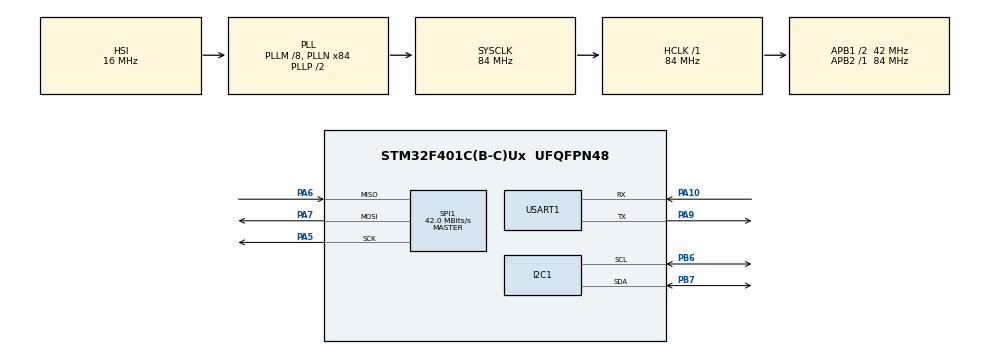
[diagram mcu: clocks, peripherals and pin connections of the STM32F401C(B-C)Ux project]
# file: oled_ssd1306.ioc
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I2C1.I2C_Mode=I2C_Fast
Mcu.Family=STM32F4
Mcu.Name=STM32F401C(B-C)Ux
Mcu.Package=UFQFPN48
NVIC.PriorityGroup=NVIC_PRIORITYGROUP_4
NVIC.SPI1_IRQn=true\:0\:0\:false\:false\:true\:true\:true\:true
PA10.Mode=Asynchronous
PA10.Signal=USART1_RX
PA13.Mode=Serial_Wire
PA13.Signal=SYS_JTMS-SWDIO
PA14.Mode=Serial_Wire
PA14.Signal=SYS_JTCK-SWCLK
PA5.Mode=Full_Duplex_Master
PA5.Signal=SPI1_SCK
PA6.Mode=Full_Duplex_Master
PA6.Signal=SPI1_MISO
PA7.Mode=Full_Duplex_Master
PA7.Signal=SPI1_MOSI
PA9.Mode=Asynchronous
PA9.Signal=USART1_TX
PB6.GPIO_Pu=GPIO_PULLUP
PB6.Mode=I2C
PB6.Signal=I2C1_SCL
PB7.GPIO_Pu=GPIO_PULLUP
PB7.Mode=I2C
PB7.Signal=I2C1_SDA
PC14-OSC32_IN.Mode=LSE-External-Oscillator
PC14-OSC32_IN.Signal=RCC_OSC32_IN
PC15-OSC32_OUT.Mode=LSE-External-Oscillator
PC15-OSC32_OUT.Signal=RCC_OSC32_OUT
PH0\ -\ OSC_IN.Mode=HSE-External-Oscillator
PH0\ -\ OSC_IN.Signal=RCC_OSC_IN
PH1\ -\ OSC_OUT.Mode=HSE-External-Oscillator
PH1\ -\ OSC_OUT.Signal=RCC_OSC_OUT
ProjectManager.HeapSize=0x200
ProjectManager.StackSize=0x400
ProjectManager.TargetToolchain=STM32CubeIDE
RCC.48MHZClocksFreq_Value=42000000
RCC.AHBFreq_Value=84000000
RCC.APB1CLKDivider=RCC_HCLK_DIV2
RCC.APB1Freq_Value=42000000
RCC.APB1TimFreq_Value=84000000
RCC.APB2Freq_Value=84000000
RCC.APB2TimFreq_Value=84000000
RCC.CortexFreq_Value=84000000
RCC.HCLKFreq_Value=84000000
RCC.HSE_VALUE=25000000
RCC.HSI_VALUE=16000000
RCC.PLLM=8
RCC.PLLN=84
RCC.SYSCLKFreq_VALUE=84000000
RCC.SYSCLKSource=RCC_SYSCLKSOURCE_PLLCLK
RCC.VCOOutputFreq_Value=168000000
SPI1.CalculateBaudRate=42.0 MBits/s
SPI1.Direction=SPI_DIRECTION_2LINES
SPI1.Mode=SPI_MODE_MASTER
SPI1.VirtualType=VM_MASTER
USART1.VirtualMode=VM_ASYNC
VP_RTC_VS_RTC_Activate.Mode=RTC_Enabled
VP_RTC_VS_RTC_WakeUp_intern.Mode=WakeUp
board=custom

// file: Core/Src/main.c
/* USER CODE BEGIN Header */
/**
  ******************************************************************************
  * @file           : main.c
  * @brief          : Main program body
  ******************************************************************************
  * @attention
  *
  * Copyright (c) 2022 STMicroelectronics.
  * All rights reserved.
  *
  * This software is licensed under terms that can be found in the LICENSE file
  * in the root directory of this software component.
  * If no LICENSE file comes with this software, it is provided AS-IS.
  *
  ******************************************************************************
  */
/* USER CODE END Header */
#include <bitmap_lcd.h>
#include "main.h"

/* USER CODE BEGIN Includes */
#include "ssd1306.h"
#include "i2c-lcd.h"
#include "fonts.h"
#include "bitmap_lcd.h"
/* USER CODE END Includes */

 I2C_HandleTypeDef hi2c1;

RTC_HandleTypeDef hrtc;

SPI_HandleTypeDef hspi1;

UART_HandleTypeDef huart1;

/* USER CODE BEGIN PV */
uint8_t check;

/* USER CODE END PV */

void SystemClock_Config(void);
static void MX_GPIO_Init(void);
static void MX_RTC_Init(void);
static void MX_SPI1_Init(void);
static void MX_USART1_UART_Init(void);
static void MX_I2C1_Init(void);

int main(void)
{
  /* USER CODE BEGIN 1 */
	char *ssd1306_text1="Iyi";
	char *ssd1306_text2="Bayramlar";
  /* USER CODE END 1 */

  /* MCU Configuration--------------------------------------------------------*/

  /* Reset of all peripherals, Initializes the Flash interface and the Systick. */
  HAL_Init();

  /* Configure the system clock */
  SystemClock_Config();

  /* Initialize all configured peripherals */
  MX_GPIO_Init();
  MX_RTC_Init();
  MX_SPI1_Init();
  MX_USART1_UART_Init();
  MX_I2C1_Init();
  /* USER CODE BEGIN 2 */
  lcd_init ();
  check=SSD1306_Init();
  SSD1306_Fill(0);
  SSD1306_UpdateScreen();
  /* USER CODE END 2 */

  /* Infinite loop */
  while (1)
  {

    /* USER CODE BEGIN 3 */
	  SSD1306_Fill(0);
	  SSD1306_Clear();
	  SSD1306_GotoXY(0, 0);
	  SSD1306_Puts(ssd1306_text1, &Font_11x18, 1);
	  SSD1306_UpdateScreen();
	  HAL_Delay(1000);

	  //	  SSD1306_Fill(0);
	  SSD1306_GotoXY(0, 27);
	  SSD1306_Puts(ssd1306_text2, &Font_11x18, 1);
	  SSD1306_UpdateScreen();
	  HAL_Delay(1000);

	  while(1){
  	  SSD1306_Fill(0);
  	  SSD1306_DrawBitmap(0, 0,marmara,128, 64, 1);
  	  SSD1306_UpdateScreen();
  	  HAL_Delay(2000);
  	  SSD1306_Fill(0);
  	  SSD1306_DrawBitmap(0, 0,selcuk,128, 64, 1);
  	  SSD1306_UpdateScreen();
  	  HAL_Delay(5000);

//	  SSD1306_Fill(0);
//	  SSD1306_DrawBitmap(0, 0,horse1,128, 64, 1);
//	  SSD1306_UpdateScreen();
//
//	  SSD1306_Fill(0);
//	  SSD1306_DrawBitmap(0, 0,horse2,128, 64, 1);
//	  SSD1306_UpdateScreen();
//
//	  SSD1306_Fill(0);
//	  SSD1306_DrawBitmap(0, 0,horse3,128, 64, 1);
//	  SSD1306_UpdateScreen();
//
//	  SSD1306_Fill(0);
//	  SSD1306_DrawBitmap(0, 0,horse4,128, 64, 1);
//	  SSD1306_UpdateScreen();
//
//	  SSD1306_Fill(0);
//	  SSD1306_DrawBitmap(0, 0,horse5,128, 64, 1);
//	  SSD1306_UpdateScreen();
//
//	  SSD1306_Fill(0);
//	  SSD1306_DrawBitmap(0, 0,horse6,128, 64, 1);
//	  SSD1306_UpdateScreen();
//
//	  SSD1306_Fill(0);
//	  SSD1306_DrawBitmap(0, 0,horse7,128, 64, 1);
//	  SSD1306_UpdateScreen();
//
//	  SSD1306_Fill(0);
//	  SSD1306_DrawBitmap(0, 0,horse8,128, 64, 1);
//	  SSD1306_UpdateScreen();
//
//	  SSD1306_Fill(0);
//	  SSD1306_DrawBitmap(0, 0,horse9,128, 64, 1);
//	  SSD1306_UpdateScreen();
//
//	  SSD1306_Fill(0);
//	  SSD1306_DrawBitmap(0, 0,horse10,128, 64, 1);
//	  SSD1306_UpdateScreen();
	  }
  }
  /* USER CODE END 3 */
}

void SystemClock_Config(void)
{
  RCC_OscInitTypeDef RCC_OscInitStruct = {0};
  RCC_ClkInitTypeDef RCC_ClkInitStruct = {0};

  /** Configure the main internal regulator output voltage
  */
  __HAL_RCC_PWR_CLK_ENABLE();
  __HAL_PWR_VOLTAGESCALING_CONFIG(PWR_REGULATOR_VOLTAGE_SCALE2);

  /** Initializes the RCC Oscillators according to the specified parameters
  * in the RCC_OscInitTypeDef structure.
  */
  RCC_OscInitStruct.OscillatorType = RCC_OSCILLATORTYPE_HSI|RCC_OSCILLATORTYPE_LSI;
  RCC_OscInitStruct.HSIState = RCC_HSI_ON;
  RCC_OscInitStruct.HSICalibrationValue = RCC_HSICALIBRATION_DEFAULT;
  RCC_OscInitStruct.LSIState = RCC_LSI_ON;
  RCC_OscInitStruct.PLL.PLLState = RCC_PLL_ON;
  RCC_OscInitStruct.PLL.PLLSource = RCC_PLLSOURCE_HSI;
  RCC_OscInitStruct.PLL.PLLM = 8;
  RCC_OscInitStruct.PLL.PLLN = 84;
  RCC_OscInitStruct.PLL.PLLP = RCC_PLLP_DIV2;
  RCC_OscInitStruct.PLL.PLLQ = 4;
  if (HAL_RCC_OscConfig(&RCC_OscInitStruct) != HAL_OK)
  {
    Error_Handler();
  }

  /** Initializes the CPU, AHB and APB buses clocks
  */
  RCC_ClkInitStruct.ClockType = RCC_CLOCKTYPE_HCLK|RCC_CLOCKTYPE_SYSCLK
                              |RCC_CLOCKTYPE_PCLK1|RCC_CLOCKTYPE_PCLK2;
  RCC_ClkInitStruct.SYSCLKSource = RCC_SYSCLKSOURCE_PLLCLK;
  RCC_ClkInitStruct.AHBCLKDivider = RCC_SYSCLK_DIV1;
  RCC_ClkInitStruct.APB1CLKDivider = RCC_HCLK_DIV2;
  RCC_ClkInitStruct.APB2CLKDivider = RCC_HCLK_DIV1;

  if (HAL_RCC_ClockConfig(&RCC_ClkInitStruct, FLASH_LATENCY_2) != HAL_OK)
  {
    Error_Handler();
  }
}

static void MX_I2C1_Init(void)
{

  hi2c1.Instance = I2C1;
  hi2c1.Init.ClockSpeed = 400000;
  hi2c1.Init.DutyCycle = I2C_DUTYCYCLE_2;
  hi2c1.Init.OwnAddress1 = 0;
  hi2c1.Init.AddressingMode = I2C_ADDRESSINGMODE_7BIT;
  hi2c1.Init.DualAddressMode = I2C_DUALADDRESS_DISABLE;
  hi2c1.Init.OwnAddress2 = 0;
  hi2c1.Init.GeneralCallMode = I2C_GENERALCALL_DISABLE;
  hi2c1.Init.NoStretchMode = I2C_NOSTRETCH_DISABLE;
  if (HAL_I2C_Init(&hi2c1) != HAL_OK)
  {
    Error_Handler();
  }

}

static void MX_RTC_Init(void)
{

  RTC_TimeTypeDef sTime = {0};
  RTC_DateTypeDef sDate = {0};

  /** Initialize RTC Only
  */
  hrtc.Instance = RTC;
  hrtc.Init.HourFormat = RTC_HOURFORMAT_24;
  hrtc.Init.AsynchPrediv = 127;
  hrtc.Init.SynchPrediv = 255;
  hrtc.Init.OutPut = RTC_OUTPUT_DISABLE;
  hrtc.Init.OutPutPolarity = RTC_OUTPUT_POLARITY_HIGH;
  hrtc.Init.OutPutType = RTC_OUTPUT_TYPE_OPENDRAIN;
  if (HAL_RTC_Init(&hrtc) != HAL_OK)
  {
    Error_Handler();
  }

  /** Initialize RTC and set the Time and Date
  */
  sTime.Hours = 0x0;
  sTime.Minutes = 0x0;
  sTime.Seconds = 0x0;
  sTime.DayLightSaving = RTC_DAYLIGHTSAVING_NONE;
  sTime.StoreOperation = RTC_STOREOPERATION_RESET;
  if (HAL_RTC_SetTime(&hrtc, &sTime, RTC_FORMAT_BCD) != HAL_OK)
  {
    Error_Handler();
  }
  sDate.WeekDay = RTC_WEEKDAY_MONDAY;
  sDate.Month = RTC_MONTH_JANUARY;
  sDate.Date = 0x1;
  sDate.Year = 0x0;

  if (HAL_RTC_SetDate(&hrtc, &sDate, RTC_FORMAT_BCD) != HAL_OK)
  {
    Error_Handler();
  }

  /** Enable the WakeUp
  */
  if (HAL_RTCEx_SetWakeUpTimer(&hrtc, 0, RTC_WAKEUPCLOCK_RTCCLK_DIV16) != HAL_OK)
  {
    Error_Handler();
  }

}

static void MX_SPI1_Init(void)
{

  /* SPI1 parameter configuration*/
  hspi1.Instance = SPI1;
  hspi1.Init.Mode = SPI_MODE_MASTER;
  hspi1.Init.Direction = SPI_DIRECTION_2LINES;
  hspi1.Init.DataSize = SPI_DATASIZE_8BIT;
  hspi1.Init.CLKPolarity = SPI_POLARITY_LOW;
  hspi1.Init.CLKPhase = SPI_PHASE_1EDGE;
  hspi1.Init.NSS = SPI_NSS_SOFT;
  hspi1.Init.BaudRatePrescaler = SPI_BAUDRATEPRESCALER_2;
  hspi1.Init.FirstBit = SPI_FIRSTBIT_MSB;
  hspi1.Init.TIMode = SPI_TIMODE_DISABLE;
  hspi1.Init.CRCCalculation = SPI_CRCCALCULATION_DISABLE;
  hspi1.Init.CRCPolynomial = 10;
  if (HAL_SPI_Init(&hspi1) != HAL_OK)
  {
    Error_Handler();
  }

}

static void MX_USART1_UART_Init(void)
{

  huart1.Instance = USART1;
  huart1.Init.BaudRate = 115200;
  huart1.Init.WordLength = UART_WORDLENGTH_8B;
  huart1.Init.StopBits = UART_STOPBITS_1;
  huart1.Init.Parity = UART_PARITY_NONE;
  huart1.Init.Mode = UART_MODE_TX_RX;
  huart1.Init.HwFlowCtl = UART_HWCONTROL_NONE;
  huart1.Init.OverSampling = UART_OVERSAMPLING_16;
  if (HAL_UART_Init(&huart1) != HAL_OK)
  {
    Error_Handler();
  }

}

static void MX_GPIO_Init(void)
{

  /* GPIO Ports Clock Enable */
  __HAL_RCC_GPIOC_CLK_ENABLE();
  __HAL_RCC_GPIOH_CLK_ENABLE();
  __HAL_RCC_GPIOA_CLK_ENABLE();
  __HAL_RCC_GPIOB_CLK_ENABLE();

}

void Error_Handler(void)
{
  __disable_irq();
  while (1)
  {
  }
}
